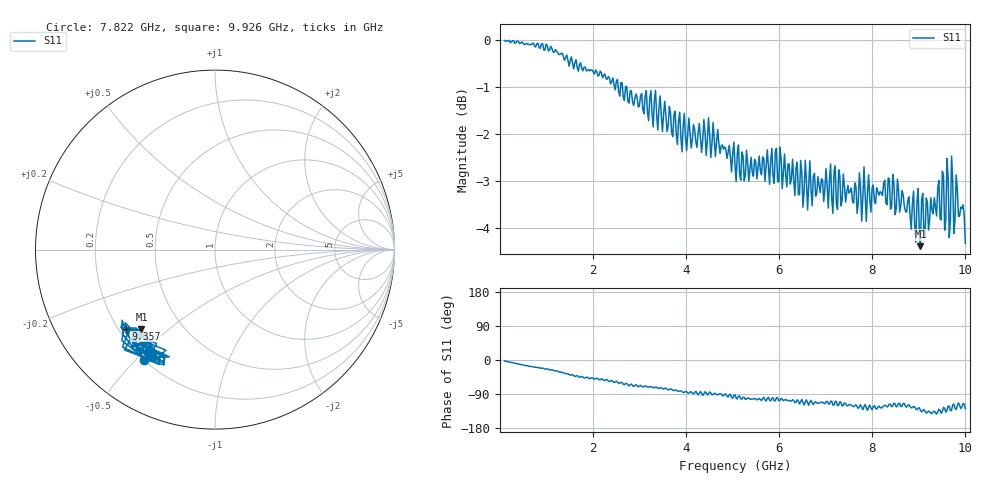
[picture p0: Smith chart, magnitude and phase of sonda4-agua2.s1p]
!Keysight Technologies N9917A: A.12.46
!Date: Friday, 23 February 2024 20:44:14
!TimeZone: (UTC-03:00) Buenos Aires!Model: N9917A
!Serial: MY56072049
!GPS Latitude:
!GPS Longitude:
!GPS TimeStamp: 0001-01-01 00:00:00Z
!GPS Seconds Since Last Read: 0
!CHECKSUM:0910101649
!Correction: S11(ON U)
!S1P File: Measurement: S11:
# Hz S DB R 50
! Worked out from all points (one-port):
!   401 points, 100 MHz to 10 GHz, reference 50 ohm
!   lowest |S11| = -4.4 dB at 9.035 GHz (marker M1), VSWR 4.05, Z = 14.5 - j20.3 ohm
!   |S11| at or under -10 dB: nowhere
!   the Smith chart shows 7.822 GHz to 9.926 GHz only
!   S11 on the Smith chart (normalised r, x): 7.822 GHz: 0.20, -0.53; 9.357 GHz: 0.23, -0.36; 9.926 GHz: 0.26, -0.51
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1e8  -0.01 -2.6
8.6725e8  -0.17 -21.7
1.3375e9  -0.28 -32.3
1.75825e9  -0.61 -43.4
2.575e9  -1.19 -61.2
2.8225e9  -1.07 -63.6
3.39175e9  -1.91 -74.4
3.8125e9  -2.22 -82.0
4.3075e9  -2.06 -83.1
4.456e9  -2.14 -92.4
4.8025e9  -2.31 -94.6
5.05e9  -2.66 -92.1
5.56975e9  -2.46 -101.2
5.9905e9  -3.02 -107.5
6.2875e9  -2.53 -104.8
6.5845e9  -2.98 -105.4
7.0795e9  -2.97 -116.4
7.525e9  -3.21 -117.7
7.822e9  -2.69 -122.8
8.14375e9  -3.29 -121.7
8.416e9  -3.54 -123.6
8.7625e9  -3.41 -119.8
9.03475e9  -4.38 -132.7
9.18325e9  -3.44 -138.0
9.3565e9  -3.54 -138.6
9.57925e9  -3.83 -137.5
9.92575e9  -3.58 -123.7
1e10  -4.32 -128.5
